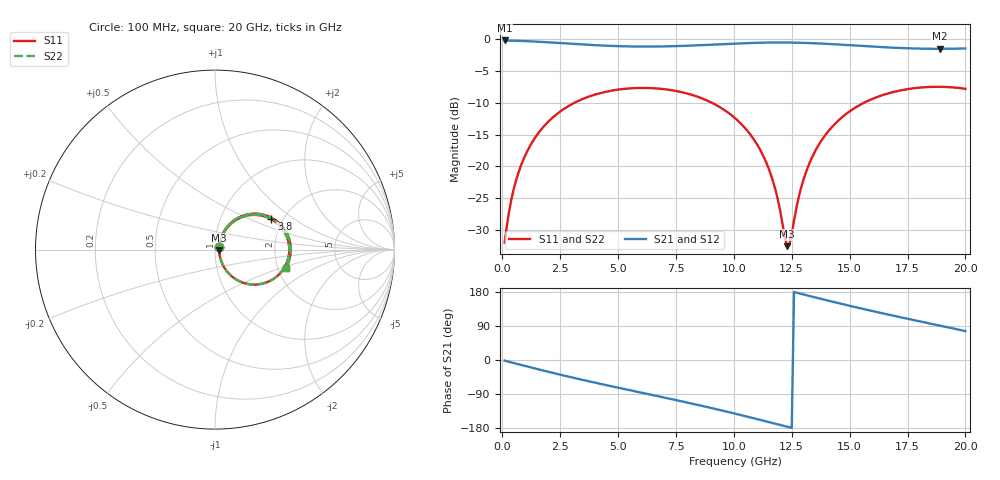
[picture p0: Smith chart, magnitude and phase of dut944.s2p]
! Touchstone file exported from HFSS 2026.1.0
!  File:  C:/ffzhzh/LocalFiles/Ansys_Project_Files/temp_train_TSV_RDL_944_1783282383_5512.aedt
!  Generated:  04:23:23 AM Jul  6, 2026
!  Design:  TSV_RDL
!  Project:  temp_train_TSV_RDL_944_1783282383_5512
! Variables:
!  h_bsmrdl = 4.79um
!  h_ox = 20um
!  h_rdl = 5um
!  h_sub = 90.62um
!  h_tmrdl = 4.96um
!  h_tsv = 90.62um
!  h_via = 3um
!  l_bsmrdl = 787.42um
!  l_sub = 4489.11um
!  l_tmrdl = 409.34um
!  m_sub = 200um
!  pitch = 34.86um
!  r_tsv = 11.44um
!  s_tmrdl = 10um
!  w_bsmrdl = 13.21um
!  w_sub = 500um
!  w_tmrdl = 16.62um
!  x_tsv_center1 = 417.65um
!  x_tsv_center2 = 1218.28um
!  x_tsv_center3 = 1644.24um
!  x_tsv_center4 = 2444.87um
!  x_tsv_center5 = 2870.83um
!  x_tsv_center6 = 3671.46um
# GHz S MA R 50.000000
! Terminal data exported
! Port[1] = TM_RDL1_1_T1
! Port[2] = TM_RDL5_1_T1
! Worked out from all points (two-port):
!   200 points, 100 MHz to 20 GHz, reference 50 ohm
!   highest |S21| = -0.19 dB at 100 MHz (marker M1); lowest = -1.5 dB at 18.9 GHz (marker M2)
!   |S21| within 3 dB of the highest: start of sweep to end of sweep
!   lowest |S11| = -32.6 dB at 12.3 GHz (marker M3), VSWR 1.05, Z = 52.4 - j0.415 ohm
!   |S11| at or under -10 dB: start of sweep to 3.118 GHz; 9.051 GHz to 15.62 GHz (6.569 GHz wide, 53.3 % of centre)
!   |S22| runs from -32.4 to -7.5 dB; largest |S21 - S12| = 1.7e-14
!   S11 on the Smith chart (normalised r, x): 100 MHz: 1.04, +0.03; 3.8 GHz: 1.75, +0.68; 20 GHz: 2.22, -0.53
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0.1  0.02506 30.5  0.9787 -1.7  0.9787 -1.7  0.02506 30.5
! Gamma 0 0 0 0
! Port Impedance 50 0 50 0
0.3  0.04469 54.5  0.9765 -4.9  0.9765 -4.9  0.04469 54.5
0.5  0.06679 61.0  0.9742 -8.1  0.9742 -8.1  0.06679 61.0
1.2  0.1447 60.5  0.9636 -19.1  0.9636 -19.1  0.1447 60.5
2.2  0.2441 49.1  0.9414 -34.3  0.9414 -34.3  0.2441 49.1
3.5  0.3403 32.2  0.9093 -52.9  0.9093 -52.9  0.3403 32.2
3.8  0.3568 28.3  0.9027 -57.1  0.9027 -57.1  0.3568 28.3
5.3  0.4075 9.4  0.8798 -77.0  0.8798 -77.0  0.4075 9.4
6.8  0.4082 -9.2  0.8775 -96.5  0.8775 -96.5  0.4082 -9.1
8.5  0.3493 -30.5  0.8973 -119.3  0.8973 -119.3  0.3492 -30.4
10.1  0.2351 -50.7  0.9256 -142.3  0.9256 -142.3  0.2351 -50.6
10.9  0.1591 -59.6  0.9369 -154.3  0.9369 -154.3  0.1591 -59.5
11.5  0.09656 -63.1  0.942 -163.6  0.942 -163.6  0.09663 -62.8
11.9  0.05457 -57.9  0.9433 -169.8  0.9433 -169.8  0.05474 -57.4
12.3  0.02349 -9.7  0.9427 -176.0  0.9427 -176.0  0.024 -9.4
12.4  0.02409 16.2  0.9422 -177.6  0.9422 -177.6  0.02462 16.0
12.9  0.06718 61.9  0.9382 174.6  0.9382 174.6  0.06742 61.5
13.4  0.12 63.5  0.9316 166.9  0.9316 166.9  0.1201 63.2
14.7  0.2456 50.4  0.9053 147.4  0.9053 147.4  0.2457 50.2
16.7  0.3764 25.6  0.8613 119.4  0.8613 119.4  0.3765 25.4
18.9  0.4224 -1.1  0.8411 90.6  0.8411 90.6  0.4224 -1.2
20  0.4073 -14.3  0.8468 76.3  0.8468 76.3  0.4073 -14.4
